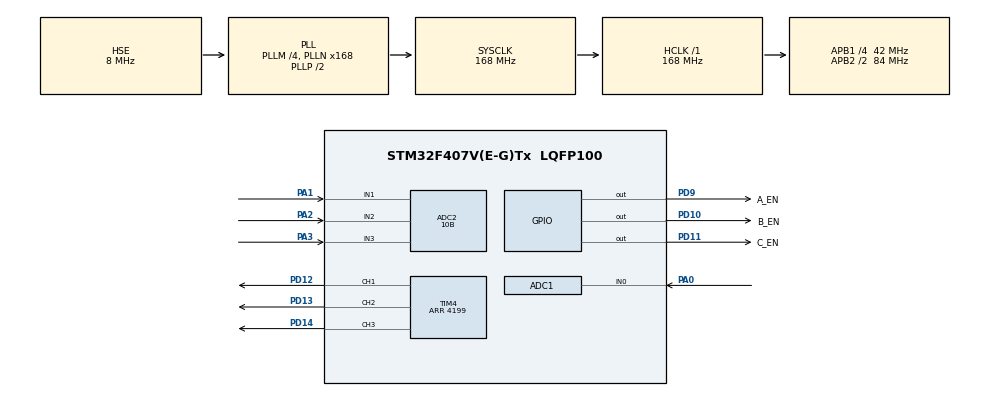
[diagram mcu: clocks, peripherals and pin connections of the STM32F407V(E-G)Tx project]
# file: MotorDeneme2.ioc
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ADC1.Channel-0\#ChannelRegularConversion=ADC_CHANNEL_0
ADC1.ClockPrescaler=ADC_CLOCK_SYNC_PCLK_DIV4
ADC1.ContinuousConvMode=ENABLE
ADC1.EOCSelection=ADC_EOC_SEQ_CONV
ADC1.NbrOfConversion=1
ADC1.NbrOfConversionFlag=1
ADC1.Rank-0\#ChannelRegularConversion=1
ADC1.Resolution=ADC_RESOLUTION_10B
ADC1.SamplingTime-0\#ChannelRegularConversion=ADC_SAMPLETIME_3CYCLES
ADC1.master=1
ADC2.Channel-2\#ChannelRegularConversion=ADC_CHANNEL_1
ADC2.ClockPrescaler=ADC_CLOCK_SYNC_PCLK_DIV4
ADC2.ContinuousConvMode=ENABLE
ADC2.NbrOfConversionFlag=1
ADC2.Rank-2\#ChannelRegularConversion=1
ADC2.Resolution=ADC_RESOLUTION_10B
ADC2.SamplingTime-2\#ChannelRegularConversion=ADC_SAMPLETIME_3CYCLES
ADC2.ScanConvMode=ENABLE
Mcu.Family=STM32F4
Mcu.Name=STM32F407V(E-G)Tx
Mcu.Package=LQFP100
NVIC.PriorityGroup=NVIC_PRIORITYGROUP_4
PA0-WKUP.Signal=ADCx_IN0
PA1.Signal=ADCx_IN1
PA2.Signal=ADCx_IN2
PA3.Signal=ADCx_IN3
PD10.GPIO_Label=B_EN
PD10.Signal=GPIO_Output
PD11.GPIO_Label=C_EN
PD11.Signal=GPIO_Output
PD12.Signal=S_TIM4_CH1
PD13.Signal=S_TIM4_CH2
PD14.Signal=S_TIM4_CH3
PD9.GPIO_Label=A_EN
PD9.Signal=GPIO_Output
PH0-OSC_IN.Mode=HSE-External-Oscillator
PH0-OSC_IN.Signal=RCC_OSC_IN
PH1-OSC_OUT.Mode=HSE-External-Oscillator
PH1-OSC_OUT.Signal=RCC_OSC_OUT
ProjectManager.HeapSize=0x200
ProjectManager.StackSize=0x400
ProjectManager.TargetToolchain=STM32CubeIDE
RCC.48MHZClocksFreq_Value=84000000
RCC.AHBFreq_Value=168000000
RCC.APB1CLKDivider=RCC_HCLK_DIV4
RCC.APB1Freq_Value=42000000
RCC.APB1TimFreq_Value=84000000
RCC.APB2CLKDivider=RCC_HCLK_DIV2
RCC.APB2Freq_Value=84000000
RCC.APB2TimFreq_Value=168000000
RCC.CortexFreq_Value=168000000
RCC.HCLKFreq_Value=168000000
RCC.HSE_VALUE=8000000
RCC.HSI_VALUE=16000000
RCC.LSE_VALUE=32768
RCC.PLLM=4
RCC.PLLN=168
RCC.PLLSourceVirtual=RCC_PLLSOURCE_HSE
RCC.SYSCLKFreq_VALUE=168000000
RCC.SYSCLKSource=RCC_SYSCLKSOURCE_PLLCLK
RCC.VCOOutputFreq_Value=336000000
SH.ADCx_IN0.0=ADC1_IN0,IN0
SH.ADCx_IN1.0=ADC2_IN1,IN1
SH.ADCx_IN2.0=ADC2_IN2,IN2
SH.ADCx_IN3.0=ADC2_IN3,IN3
SH.S_TIM4_CH1.0=TIM4_CH1,PWM Generation1 CH1
SH.S_TIM4_CH2.0=TIM4_CH2,PWM Generation2 CH2
SH.S_TIM4_CH3.0=TIM4_CH3,PWM Generation3 CH3
TIM4.Channel-PWM\ Generation1\ CH1=TIM_CHANNEL_1
TIM4.Channel-PWM\ Generation2\ CH2=TIM_CHANNEL_2
TIM4.Channel-PWM\ Generation3\ CH3=TIM_CHANNEL_3
TIM4.Period=4199
VP_TIM4_VS_ClockSourceINT.Mode=Internal
board=custom

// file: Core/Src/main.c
/* USER CODE BEGIN Header */
/**
  ******************************************************************************
  * @file           : main.c
  * @brief          : Main program body
  ******************************************************************************
  * @attention
  *
  * Copyright (c) 2023 STMicroelectronics.
  * All rights reserved.
  *
  * This software is licensed under terms that can be found in the LICENSE file
  * in the root directory of this software component.
  * If no LICENSE file comes with this software, it is provided AS-IS.
  *
  ******************************************************************************
  */
/* USER CODE END Header */
#include "main.h"

ADC_HandleTypeDef hadc1;
ADC_HandleTypeDef hadc2;

TIM_HandleTypeDef htim4;

/* USER CODE BEGIN PV */
int fase = 1;
uint16_t emfA,emfB,emfC,sum,pot_value,pwm;
static int delta = 0;
static int Lastdelta = -1;

/* USER CODE END PV */

void SystemClock_Config(void);
static void MX_GPIO_Init(void);
static void MX_TIM4_Init(void);
static void MX_ADC1_Init(void);
static void MX_ADC2_Init(void);
/* USER CODE BEGIN PFP */
void ADC_Select_CH1(void);
void ADC_Select_CH2(void);
void ADC_Select_CH3(void);

/* USER CODE END PFP */

/* USER CODE BEGIN 0 */
long map(long x, long in_min, long in_max, long out_min, long out_max)
{
  return (x - in_min) * (out_max - out_min) / (in_max - in_min) + out_min;
}

/* USER CODE END 0 */

int main(void)
{

  /* MCU Configuration--------------------------------------------------------*/

  /* Reset of all peripherals, Initializes the Flash interface and the Systick. */
  HAL_Init();

  /* Configure the system clock */
  SystemClock_Config();

  /* Initialize all configured peripherals */
  MX_GPIO_Init();
  MX_TIM4_Init();
  MX_ADC1_Init();
  MX_ADC2_Init();
  /* USER CODE BEGIN 2 */
  HAL_ADC_Start(&hadc1);

  /* USER CODE END 2 */

  /* Infinite loop */
  while (1)
  {

    /* USER CODE BEGIN 3 */

	  	pot_value = HAL_ADC_GetValue(&hadc1);
	    pwm = map(pot_value, 0, 1023, 1000, 2000);

	  	ADC_Select_CH1();
	  	HAL_ADC_Start(&hadc2);
	  	emfA = HAL_ADC_GetValue(&hadc2);
	  	HAL_ADC_Stop(&hadc2);

	  	ADC_Select_CH2();
	  	HAL_ADC_Start(&hadc2);
	  	emfB = HAL_ADC_GetValue(&hadc2);
	  	HAL_ADC_Stop(&hadc2);

	  	ADC_Select_CH3();
	  	HAL_ADC_Start(&hadc2);
	  	emfC = HAL_ADC_GetValue(&hadc2);
	  	HAL_ADC_Stop(&hadc2);

	  	sum = (emfA+emfB+emfC)/3;
		switch(fase)
		{

			case 1:
				TIM4->CCR1 = pwm;
				HAL_GPIO_WritePin(GPIOD, A_EN_Pin, SET);
				HAL_GPIO_WritePin(GPIOD, B_EN_Pin, SET);
				HAL_GPIO_WritePin(GPIOD, C_EN_Pin, RESET);

				__HAL_TIM_SET_COMPARE(&htim4, TIM_CHANNEL_1,4000);		// A HIGH ACTIVE
				__HAL_TIM_SET_COMPARE(&htim4, TIM_CHANNEL_2,0);	// B LOW AVTIVE
				delta = emfC-sum;

				//State_A_B

				break;

			case 2:
				TIM4->CCR1 = pwm;
				HAL_GPIO_WritePin(GPIOD, A_EN_Pin, SET);
				HAL_GPIO_WritePin(GPIOD, B_EN_Pin, RESET);
				HAL_GPIO_WritePin(GPIOD, C_EN_Pin, SET);

				__HAL_TIM_SET_COMPARE(&htim4, TIM_CHANNEL_1,4000);		// A HIGH ACTIVE
				__HAL_TIM_SET_COMPARE(&htim4, TIM_CHANNEL_3,0);	// C LOW ACTIVE
				delta = emfB-sum;
				//State_A_C

				break;

			case 3:
				TIM4->CCR1 = pwm;
				HAL_GPIO_WritePin(GPIOD, A_EN_Pin, RESET);
				HAL_GPIO_WritePin(GPIOD, B_EN_Pin, SET);
				HAL_GPIO_WritePin(GPIOD, C_EN_Pin, SET);

				__HAL_TIM_SET_COMPARE(&htim4, TIM_CHANNEL_2,4000);		// B HIGH ACTIVE
				__HAL_TIM_SET_COMPARE(&htim4, TIM_CHANNEL_3,0);	// C LOW ACTIVE
				delta = emfA-sum;

				//State_B_C

				break;

			case 4:
				TIM4->CCR1 = pwm;
				HAL_GPIO_WritePin(GPIOD, A_EN_Pin, SET);
				HAL_GPIO_WritePin(GPIOD, B_EN_Pin, SET);
				HAL_GPIO_WritePin(GPIOD, C_EN_Pin, RESET);

				__HAL_TIM_SET_COMPARE(&htim4, TIM_CHANNEL_2,4000);	// B HIGH ACTIVE
				__HAL_TIM_SET_COMPARE(&htim4, TIM_CHANNEL_1,0);	// A LOW ACTIVE
				delta = emfC-sum;

				//State_B_A

				break;

			case 5:
				TIM4->CCR1 = pwm;
				HAL_GPIO_WritePin(GPIOD, A_EN_Pin, SET);
				HAL_GPIO_WritePin(GPIOD, B_EN_Pin, RESET);
				HAL_GPIO_WritePin(GPIOD, C_EN_Pin, SET);

				__HAL_TIM_SET_COMPARE(&htim4, TIM_CHANNEL_3,4000);	// C HIGH ACTIVE
				__HAL_TIM_SET_COMPARE(&htim4, TIM_CHANNEL_1,0);	// A LOW ACTIVE
				delta = emfB-sum;

				//State_C_A
				break;

			case 6:
				TIM4->CCR1 = pwm;
				HAL_GPIO_WritePin(GPIOD, A_EN_Pin, RESET);
				HAL_GPIO_WritePin(GPIOD, B_EN_Pin, SET);
				HAL_GPIO_WritePin(GPIOD, C_EN_Pin, SET);

				__HAL_TIM_SET_COMPARE(&htim4, TIM_CHANNEL_3,4000);	// C HIGH ACTIVE
				__HAL_TIM_SET_COMPARE(&htim4, TIM_CHANNEL_2,0);	// B LOW ACTIVE
				delta = emfA-sum;

				//State_C_B

				break;

  }
if (Lastdelta < 0){
  if (delta > 0)
	  {
		Lastdelta=delta; //save the last delta
		fase= fase + 1;
		if (fase > 6) {
		  fase = 1;
		  }
	  }
  }
if (Lastdelta > 0){
	if (delta < 0)
		{
		  Lastdelta=delta;
		  fase= fase + 1;
		  if (fase > 6) {
			fase = 1;
			}
		}
}
}
  /* USER CODE END 3 */
}

void SystemClock_Config(void)
{
  RCC_OscInitTypeDef RCC_OscInitStruct = {0};
  RCC_ClkInitTypeDef RCC_ClkInitStruct = {0};

  /** Configure the main internal regulator output voltage
  */
  __HAL_RCC_PWR_CLK_ENABLE();
  __HAL_PWR_VOLTAGESCALING_CONFIG(PWR_REGULATOR_VOLTAGE_SCALE1);

  /** Initializes the RCC Oscillators according to the specified parameters
  * in the RCC_OscInitTypeDef structure.
  */
  RCC_OscInitStruct.OscillatorType = RCC_OSCILLATORTYPE_HSE;
  RCC_OscInitStruct.HSEState = RCC_HSE_ON;
  RCC_OscInitStruct.PLL.PLLState = RCC_PLL_ON;
  RCC_OscInitStruct.PLL.PLLSource = RCC_PLLSOURCE_HSE;
  RCC_OscInitStruct.PLL.PLLM = 4;
  RCC_OscInitStruct.PLL.PLLN = 168;
  RCC_OscInitStruct.PLL.PLLP = RCC_PLLP_DIV2;
  RCC_OscInitStruct.PLL.PLLQ = 4;
  if (HAL_RCC_OscConfig(&RCC_OscInitStruct) != HAL_OK)
  {
    Error_Handler();
  }

  /** Initializes the CPU, AHB and APB buses clocks
  */
  RCC_ClkInitStruct.ClockType = RCC_CLOCKTYPE_HCLK|RCC_CLOCKTYPE_SYSCLK
                              |RCC_CLOCKTYPE_PCLK1|RCC_CLOCKTYPE_PCLK2;
  RCC_ClkInitStruct.SYSCLKSource = RCC_SYSCLKSOURCE_PLLCLK;
  RCC_ClkInitStruct.AHBCLKDivider = RCC_SYSCLK_DIV1;
  RCC_ClkInitStruct.APB1CLKDivider = RCC_HCLK_DIV4;
  RCC_ClkInitStruct.APB2CLKDivider = RCC_HCLK_DIV2;

  if (HAL_RCC_ClockConfig(&RCC_ClkInitStruct, FLASH_LATENCY_5) != HAL_OK)
  {
    Error_Handler();
  }
}

static void MX_ADC1_Init(void)
{

  ADC_ChannelConfTypeDef sConfig = {0};

  /** Configure the global features of the ADC (Clock, Resolution, Data Alignment and number of conversion)
  */
  hadc1.Instance = ADC1;
  hadc1.Init.ClockPrescaler = ADC_CLOCK_SYNC_PCLK_DIV4;
  hadc1.Init.Resolution = ADC_RESOLUTION_10B;
  hadc1.Init.ScanConvMode = DISABLE;
  hadc1.Init.ContinuousConvMode = ENABLE;
  hadc1.Init.DiscontinuousConvMode = DISABLE;
  hadc1.Init.ExternalTrigConvEdge = ADC_EXTERNALTRIGCONVEDGE_NONE;
  hadc1.Init.ExternalTrigConv = ADC_SOFTWARE_START;
  hadc1.Init.DataAlign = ADC_DATAALIGN_RIGHT;
  hadc1.Init.NbrOfConversion = 1;
  hadc1.Init.DMAContinuousRequests = DISABLE;
  hadc1.Init.EOCSelection = ADC_EOC_SEQ_CONV;
  if (HAL_ADC_Init(&hadc1) != HAL_OK)
  {
    Error_Handler();
  }

  /** Configure for the selected ADC regular channel its corresponding rank in the sequencer and its sample time.
  */
  sConfig.Channel = ADC_CHANNEL_0;
  sConfig.Rank = 1;
  sConfig.SamplingTime = ADC_SAMPLETIME_3CYCLES;
  if (HAL_ADC_ConfigChannel(&hadc1, &sConfig) != HAL_OK)
  {
    Error_Handler();
  }

}

static void MX_ADC2_Init(void)
{

  ADC_ChannelConfTypeDef sConfig = {0};

  /** Configure the global features of the ADC (Clock, Resolution, Data Alignment and number of conversion)
  */
  hadc2.Instance = ADC2;
  hadc2.Init.ClockPrescaler = ADC_CLOCK_SYNC_PCLK_DIV4;
  hadc2.Init.Resolution = ADC_RESOLUTION_10B;
  hadc2.Init.ScanConvMode = ENABLE;
  hadc2.Init.ContinuousConvMode = ENABLE;
  hadc2.Init.DiscontinuousConvMode = DISABLE;
  hadc2.Init.ExternalTrigConvEdge = ADC_EXTERNALTRIGCONVEDGE_NONE;
  hadc2.Init.ExternalTrigConv = ADC_SOFTWARE_START;
  hadc2.Init.DataAlign = ADC_DATAALIGN_RIGHT;
  hadc2.Init.NbrOfConversion = 1;
  hadc2.Init.DMAContinuousRequests = DISABLE;
  hadc2.Init.EOCSelection = ADC_EOC_SINGLE_CONV;
  if (HAL_ADC_Init(&hadc2) != HAL_OK)
  {
    Error_Handler();
  }

  /** Configure for the selected ADC regular channel its corresponding rank in the sequencer and its sample time.
  */
  sConfig.Channel = ADC_CHANNEL_1;
  sConfig.Rank = 1;
  sConfig.SamplingTime = ADC_SAMPLETIME_3CYCLES;
  if (HAL_ADC_ConfigChannel(&hadc2, &sConfig) != HAL_OK)
  {
    Error_Handler();
  }

}

static void MX_TIM4_Init(void)
{

  TIM_ClockConfigTypeDef sClockSourceConfig = {0};
  TIM_MasterConfigTypeDef sMasterConfig = {0};
  TIM_OC_InitTypeDef sConfigOC = {0};

  htim4.Instance = TIM4;
  htim4.Init.Prescaler = 0;
  htim4.Init.CounterMode = TIM_COUNTERMODE_UP;
  htim4.Init.Period = 4199;
  htim4.Init.ClockDivision = TIM_CLOCKDIVISION_DIV1;
  htim4.Init.AutoReloadPreload = TIM_AUTORELOAD_PRELOAD_DISABLE;
  if (HAL_TIM_Base_Init(&htim4) != HAL_OK)
  {
    Error_Handler();
  }
  sClockSourceConfig.ClockSource = TIM_CLOCKSOURCE_INTERNAL;
  if (HAL_TIM_ConfigClockSource(&htim4, &sClockSourceConfig) != HAL_OK)
  {
    Error_Handler();
  }
  if (HAL_TIM_PWM_Init(&htim4) != HAL_OK)
  {
    Error_Handler();
  }
  sMasterConfig.MasterOutputTrigger = TIM_TRGO_RESET;
  sMasterConfig.MasterSlaveMode = TIM_MASTERSLAVEMODE_DISABLE;
  if (HAL_TIMEx_MasterConfigSynchronization(&htim4, &sMasterConfig) != HAL_OK)
  {
    Error_Handler();
  }
  sConfigOC.OCMode = TIM_OCMODE_PWM1;
  sConfigOC.Pulse = 0;
  sConfigOC.OCPolarity = TIM_OCPOLARITY_HIGH;
  sConfigOC.OCFastMode = TIM_OCFAST_DISABLE;
  if (HAL_TIM_PWM_ConfigChannel(&htim4, &sConfigOC, TIM_CHANNEL_1) != HAL_OK)
  {
    Error_Handler();
  }
  if (HAL_TIM_PWM_ConfigChannel(&htim4, &sConfigOC, TIM_CHANNEL_2) != HAL_OK)
  {
    Error_Handler();
  }
  if (HAL_TIM_PWM_ConfigChannel(&htim4, &sConfigOC, TIM_CHANNEL_3) != HAL_OK)
  {
    Error_Handler();
  }
  /* USER CODE BEGIN TIM4_Init 2 */

  HAL_TIM_Base_Start(&htim4);
  HAL_TIM_PWM_Start(&htim4, TIM_CHANNEL_1);
  HAL_TIM_PWM_Start(&htim4, TIM_CHANNEL_2);
  HAL_TIM_PWM_Start(&htim4, TIM_CHANNEL_3);
  /* USER CODE END TIM4_Init 2 */
  HAL_TIM_MspPostInit(&htim4);

}

static void MX_GPIO_Init(void)
{
  GPIO_InitTypeDef GPIO_InitStruct = {0};

  /* GPIO Ports Clock Enable */
  __HAL_RCC_GPIOH_CLK_ENABLE();
  __HAL_RCC_GPIOA_CLK_ENABLE();
  __HAL_RCC_GPIOD_CLK_ENABLE();

  /*Configure GPIO pin Output Level */
  HAL_GPIO_WritePin(GPIOD, A_EN_Pin|B_EN_Pin|C_EN_Pin, GPIO_PIN_RESET);

  /*Configure GPIO pins : A_EN_Pin B_EN_Pin C_EN_Pin */
  GPIO_InitStruct.Pin = A_EN_Pin|B_EN_Pin|C_EN_Pin;
  GPIO_InitStruct.Mode = GPIO_MODE_OUTPUT_PP;
  GPIO_InitStruct.Pull = GPIO_NOPULL;
  GPIO_InitStruct.Speed = GPIO_SPEED_FREQ_LOW;
  HAL_GPIO_Init(GPIOD, &GPIO_InitStruct);

}

/* USER CODE BEGIN 4 */
void ADC_Select_CH1(void){
	  ADC_ChannelConfTypeDef sConfig = {0};

	  sConfig.Channel = ADC_CHANNEL_1;
	  sConfig.Rank = 1;
	  sConfig.SamplingTime = ADC_SAMPLETIME_3CYCLES;
	  if (HAL_ADC_ConfigChannel(&hadc2, &sConfig) != HAL_OK)
	  {
	    Error_Handler();

}
}
void ADC_Select_CH2(void){
  ADC_ChannelConfTypeDef sConfig = {0};

  sConfig.Channel = ADC_CHANNEL_2;
  sConfig.Rank = 1;
  sConfig.SamplingTime = ADC_SAMPLETIME_3CYCLES;
  if (HAL_ADC_ConfigChannel(&hadc2, &sConfig) != HAL_OK)
  {
	Error_Handler();

}

}
void ADC_Select_CH3(void){
  ADC_ChannelConfTypeDef sConfig = {0};

  sConfig.Channel = ADC_CHANNEL_3;
  sConfig.Rank = 1;
  sConfig.SamplingTime = ADC_SAMPLETIME_3CYCLES;
  if (HAL_ADC_ConfigChannel(&hadc2, &sConfig) != HAL_OK)
  {
	Error_Handler();

}
}

/* USER CODE END 4 */

void Error_Handler(void)
{
  __disable_irq();
  while (1)
  {
  }
}
